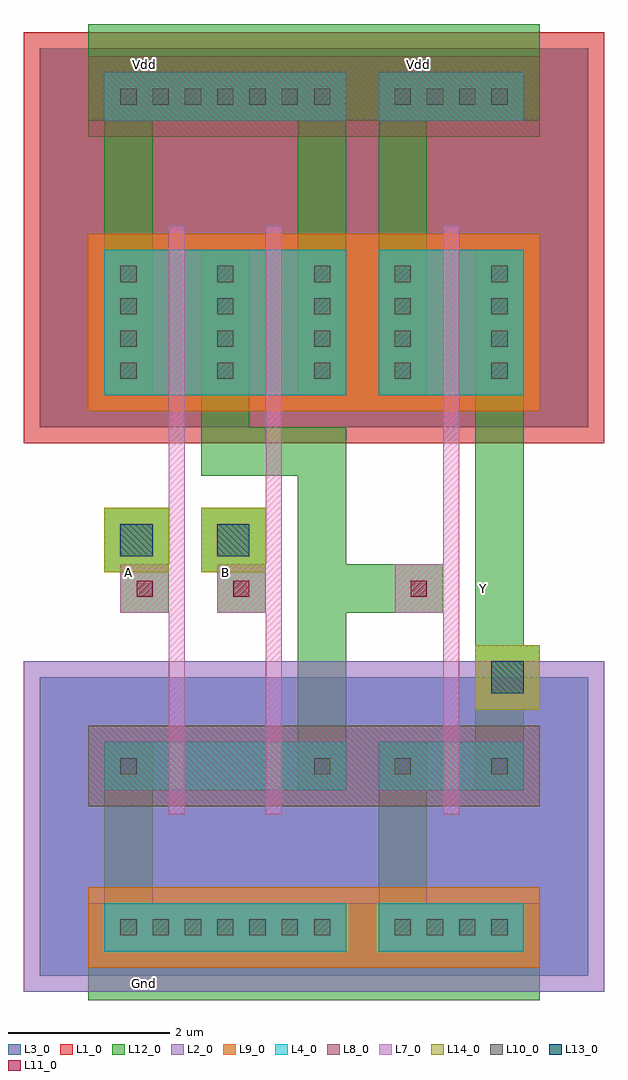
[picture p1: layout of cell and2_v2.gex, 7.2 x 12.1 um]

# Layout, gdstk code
import gdstk
lib = gdstk.Library(unit=1e-6, precision=1e-09)
def R(c, l, rs):  # rectangles x0, y0, x1, y1
    for r in rs: c.add(gdstk.rectangle(r[:2], r[2:], *l))
def A(c, l, x, y, w, h, nx, ny, dx, dy):  # array of equal rectangles
    R(c, l, [(x+i*dx, y+j*dy, x+i*dx+w, y+j*dy+h) for i in range(nx) for j in range(ny)])
L1_0 = (1, 0)
L2_0 = (2, 0)
L3_0 = (3, 0)
L4_0 = (4, 0)
L7_0 = (7, 0)
L8_0 = (8, 0)
L9_0 = (9, 0)
L10_0 = (10, 0)
L11_0 = (11, 0)
L12_0 = (12, 0)
L13_0 = (13, 0)
L14_0 = (14, 0)

and2_v2_gex = lib.new_cell('and2_v2.gex')
R(and2_v2_gex, L1_0, [(-0.8,6.9,3.7,12), (3.1,6.9,6.4,12)])
R(and2_v2_gex, L2_0, [(-0.8,0.1,3.7,4.2), (3.1,0.1,6.4,4.2)])
R(and2_v2_gex, L3_0, [(-0.6,0.3,3.5,4), (3.3,0.3,6.2,4), (-0.6,7.1,3.5,11.8), (3.3,7.1,6.2,11.8)])
R(and2_v2_gex, L4_0, [(0.2,0.6,3.2,1.2), (3.6,0.6,5.4,1.2), (0.2,2.6,3.2,3.2), (3.6,2.6,5.4,3.2), (0.2,7.5,3.2,9.3), (3.6,7.5,5.4,9.3), (0.2,10.9,3.2,11.5), (3.6,10.9,5.4,11.5)])
R(and2_v2_gex, L7_0, [(1,2.3,1.2,9.6), (2.2,2.3,2.4,9.6), (4.4,2.3,4.6,9.6), (0.4,4.8,1,5.4), (1.6,4.8,2.2,5.4), (3.8,4.8,4.4,5.4)])
R(and2_v2_gex, L8_0, [(0,2.4,3.4,3.4), (3.4,2.4,5.6,3.4), (0,10.7,3.4,11.7), (3.4,10.7,5.6,11.7)])
R(and2_v2_gex, L9_0, [(0,0.4,3.4,1.4), (3.4,0.4,5.6,1.4), (0,7.3,3.4,9.5), (3.4,7.3,5.6,9.5)])
A(and2_v2_gex, L10_0, 0.4, 0.8, 0.2, 0.2, 7, 2, 0.4, 10.3)
A(and2_v2_gex, L10_0, 3.8, 0.8, 0.2, 0.2, 4, 2, 0.4, 10.3)
A(and2_v2_gex, L10_0, 0.4, 7.7, 0.2, 0.2, 3, 4, 1.2, 0.4)
A(and2_v2_gex, L10_0, 3.8, 7.7, 0.2, 0.2, 1, 4, 0, 0.4)
A(and2_v2_gex, L10_0, 5, 7.7, 0.2, 0.2, 1, 4, 0, 0.4)
R(and2_v2_gex, L10_0, [(0.4,2.8,0.6,3), (2.8,2.8,3,3), (3.8,2.8,4,3), (5,2.8,5.2,3)])
R(and2_v2_gex, L11_0, [(0.6,5,0.8,5.2), (1.8,5,2,5.2), (4,5,4.2,5.2)])
R(and2_v2_gex, L12_0, [(0,0,3.4,1.2), (3.4,0,5.6,1.2), (0.2,1.2,0.8,3.2), (3.6,1.2,4.2,3.2), (2.6,2.6,3.2,7.1), (4.8,2.6,5.4,9.3), (4.8,3.6,5.6,4.4), (0.4,4.8,1,5.4), (1.6,4.8,2.2,5.4), (3.2,4.8,3.8,5.4), (3.8,4.8,4.4,5.4), (0.2,5.3,1,6.1), (1.4,5.3,2.2,6.1), (1.4,6.5,2.6,7.1), (1.4,7.1,2,9.3), (0.2,7.5,0.8,10.9), (2.6,7.5,3.2,10.9), (3.6,7.5,4.2,10.9), (0,10.9,3.4,12.1), (3.4,10.9,5.6,12.1)])
R(and2_v2_gex, L13_0, [(5,3.8,5.4,4.2), (0.4,5.5,0.8,5.9), (1.6,5.5,2,5.9)])
R(and2_v2_gex, L14_0, [(4.8,3.6,5.6,4.4), (0.2,5.3,1,6.1), (1.4,5.3,2.2,6.1)])
and2_v2_gex.add(gdstk.Label('Vdd', (0.7,11.6), layer=12, texttype=0))
and2_v2_gex.add(gdstk.Label('Vdd', (4.1,11.6), layer=12, texttype=0))
and2_v2_gex.add(gdstk.Label('A', (0.5,5.3), layer=12, texttype=0))
and2_v2_gex.add(gdstk.Label('B', (1.7,5.3), layer=12, texttype=0))
and2_v2_gex.add(gdstk.Label('Gnd', (0.7,0.2), layer=12, texttype=0))
and2_v2_gex.add(gdstk.Label('Y', (4.9,5.1), layer=12, texttype=0))

lib.write_gds('and2_v2.gex.gds')
